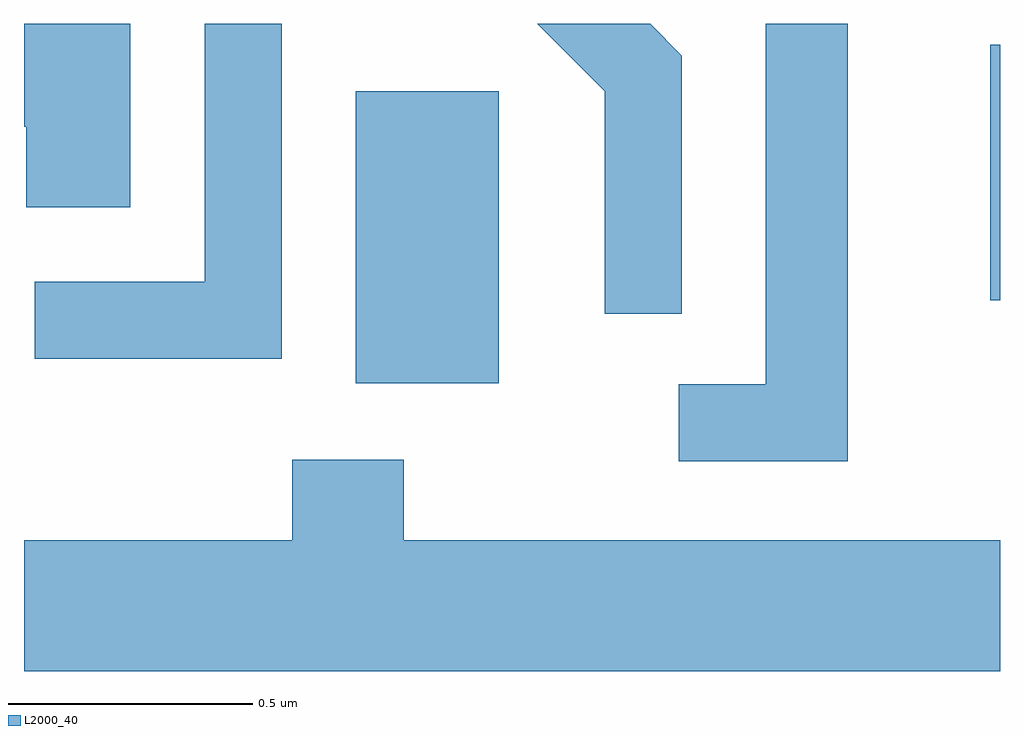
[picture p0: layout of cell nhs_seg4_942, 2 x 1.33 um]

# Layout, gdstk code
import gdstk
lib = gdstk.Library(unit=1e-6, precision=1e-09)
def R(c, l, rs):  # rectangles x0, y0, x1, y1
    for r in rs: c.add(gdstk.rectangle(r[:2], r[2:], *l))
def P(c, l, *ps):  # polygons
    for p in ps: c.add(gdstk.Polygon(p, *l))
L2000_40 = (2000, 40)

nhs_seg4_942 = lib.new_cell('nhs_seg4_942')
R(nhs_seg4_942, L2000_40, [(192.291,1375.246,192.584,1375.844), (193.591,1375.416,193.611,1375.939)])
P(nhs_seg4_942, L2000_40, [(191.829,1375.982),(191.611,1375.982),(191.611,1375.771),(191.616,1375.771),(191.616,1375.606),(191.829,1375.606)],
  [(193.299,1375.982),(193.131,1375.982),(193.131,1375.244),(192.953,1375.244),(192.953,1375.086),(193.299,1375.086)],
  [(192.139,1375.982),(191.981,1375.982),(191.981,1375.454),(191.633,1375.454),(191.633,1375.296),(192.139,1375.296)],
  [(192.959,1375.917),(192.894,1375.982),(192.663,1375.982),(192.801,1375.844),(192.801,1375.388),(192.959,1375.388)],
  [(193.611,1374.924),(192.389,1374.924),(192.389,1375.089),(192.161,1375.089),(192.161,1374.924),(191.611,1374.924),(191.611,1374.656),(193.611,1374.656)])

lib.write_gds('nhs_seg4_942.gds')
